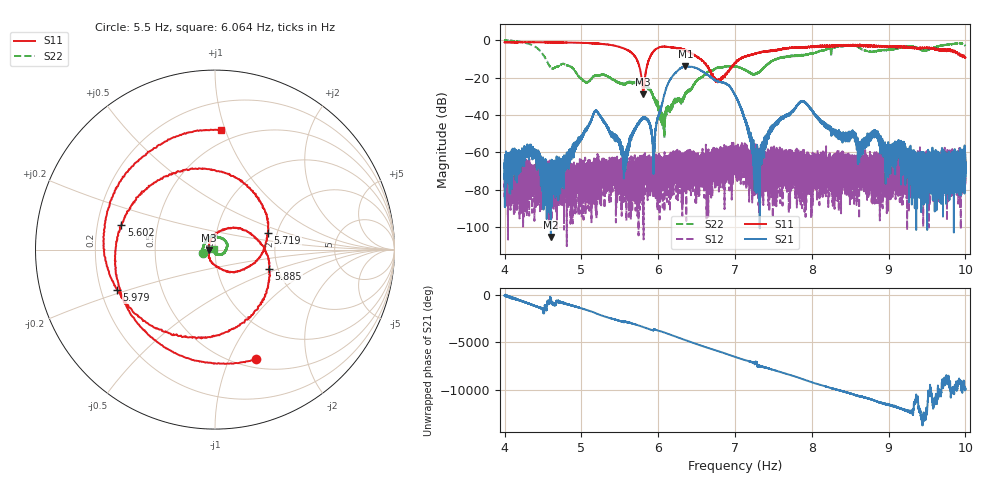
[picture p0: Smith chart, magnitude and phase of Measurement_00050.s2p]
!Created with skrf (http://scikit-rf.org).
# Hz S RI R 50.0
!freq ReS11 ImS11 ReS21 ImS21 ReS12 ImS12 ReS22 ImS22
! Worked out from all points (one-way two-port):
!   14001 points, 4 Hz to 10 Hz, reference 50 ohm
!   highest |S21| = -13.99 dB at 6.355 Hz (marker M1); lowest = -105.2 dB at 4.602 Hz (marker M2)
!   lowest |S11| = -28.9 dB at 5.806 Hz (marker M3), VSWR 1.07, Z = 46.5 - j0.222 ohm
!   |S11| at or under -10 dB: 5.717 Hz to 5.884 Hz (167.3 mHz wide, 2.88 % of centre); 6.540497 Hz to 6.541317 Hz (819.7 uHz wide, 0.0125 % of centre); 6.542 Hz to 7.069 Hz (527 mHz wide, 7.74 % of centre) (the widest 3 of 6)
!   |S22| runs from -52.6 to -0.2 dB; largest |S21 - S12| = 0.2
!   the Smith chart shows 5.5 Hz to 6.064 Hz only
!   S11 on the Smith chart (normalised r, x): 5.5 Hz: 0.59, -1.26; 5.602 Hz: 0.30, +0.12; 5.719 Hz: 1.79, +0.37; 5.885 Hz: 1.80, -0.43; 5.979 Hz: 0.27, -0.18; 6.064 Hz: 0.40, +0.97
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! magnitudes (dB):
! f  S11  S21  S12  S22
! 4 Hz  -1.1  -68.3  -75.0  -0.3
! 4.329 Hz  -1.1  -56.6  -73.0  -2.1
! 4.602 Hz  -1.2  -105.2  -81.4  -14.7
! 5 Hz  -1.5  -53.0  -69.8  -20.7
! 5.194 Hz  -1.8  -37.7  -66.1  -18.8
! 5.5 Hz  -3.7  -53.4  -85.6  -22.9
! 5.602 Hz  -5.4  -59.9  -74.9  -22.7
! 5.719 Hz  -10.2  -46.3  -69.2  -22.5
! 5.806 Hz  -28.9  -41.5  -70.2  -23.8
! 5.885 Hz  -9.9  -44.2  -69.0  -26.4
! 5.935 Hz  -6.2  -58.6  -69.8  -30.5
! 5.979 Hz  -4.6  -44.2  -78.4  -32.0
! 6 Hz  -4.1  -41.1  -65.8  -35.0
! 6.064 Hz  -3.5  -31.7  -70.6  -43.9
! 6.355 Hz  -5.3  -14.0  -64.6  -29.1
! 6.773 Hz  -22.2  -22.2  -64.3  -14.7
! 7 Hz  -12.3  -29.3  -71.8  -14.0
! 7.288 Hz  -7.0  -61.5  -60.6  -17.6
! 7.579 Hz  -5.2  -43.1  -67.1  -9.5
! 8 Hz  -3.8  -37.7  -65.4  -6.9
! 9 Hz  -3.6  -60.0  -63.6  -5.1
! 10 Hz  -9.3  -72.5  -77.2  -3.1
